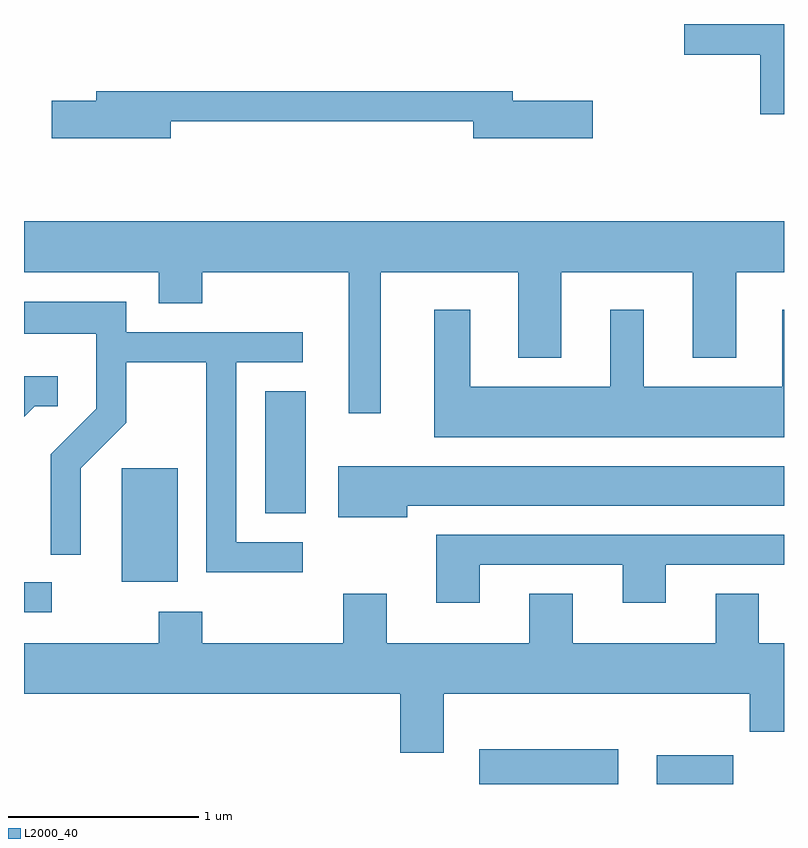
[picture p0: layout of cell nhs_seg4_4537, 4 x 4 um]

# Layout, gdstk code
import gdstk
lib = gdstk.Library(unit=1e-6, precision=1e-09)
def R(c, l, rs):  # rectangles x0, y0, x1, y1
    for r in rs: c.add(gdstk.rectangle(r[:2], r[2:], *l))
def P(c, l, *ps):  # polygons
    for p in ps: c.add(gdstk.Polygon(p, *l))
L2000_40 = (2000, 40)

nhs_seg4_4537 = lib.new_cell('nhs_seg4_4537')
R(nhs_seg4_4537, L2000_40, [(320.006,1351.982,320.739,1352.164), (320.941,1351.982,321.344,1352.134), (317.611,1352.886,317.758,1353.044), (318.126,1353.046,318.419,1353.644), (318.881,1353.406,319.094,1354.049)])
P(nhs_seg4_4537, L2000_40, [(321.611,1355.982),(321.086,1355.982),(321.086,1355.821),(321.486,1355.821),(321.486,1355.506),(321.611,1355.506)],
  [(318.384,1355.471),(319.976,1355.471),(319.976,1355.381),(320.604,1355.381),(320.604,1355.579),(320.184,1355.579),(320.184,1355.629),(317.991,1355.629),(317.991,1355.579),(317.756,1355.579),(317.756,1355.381),(318.384,1355.381)],
  [(319.489,1354.676),(320.211,1354.676),(320.211,1354.226),(320.439,1354.226),(320.439,1354.676),(321.131,1354.676),(321.131,1354.226),(321.359,1354.226),(321.359,1354.676),(321.611,1354.676),(321.611,1354.944),(317.611,1354.944),(317.611,1354.676),(318.321,1354.676),(318.321,1354.511),(318.549,1354.511),(318.549,1354.676),(319.321,1354.676),(319.321,1353.933),(319.489,1353.933)],
  [(319.078,1353.254),(318.729,1353.254),(318.729,1354.201),(319.078,1354.201),(319.078,1354.359),(318.149,1354.359),(318.149,1354.519),(317.611,1354.519),(317.611,1354.351),(317.991,1354.351),(317.991,1353.957),(317.751,1353.717),(317.751,1353.188),(317.909,1353.188),(317.909,1353.644),(318.149,1353.884),(318.149,1354.201),(318.571,1354.201),(318.571,1353.096),(319.078,1353.096)],
  [(321.611,1354.479),(321.601,1354.479),(321.601,1354.074),(320.874,1354.074),(320.874,1354.479),(320.696,1354.479),(320.696,1354.074),(319.959,1354.074),(319.959,1354.479),(319.771,1354.479),(319.771,1353.806),(321.611,1353.806)],
  [(317.667,1353.971),(317.788,1353.971),(317.788,1354.129),(317.611,1354.129),(317.611,1353.916)],
  [(319.629,1353.446),(321.611,1353.446),(321.611,1353.654),(319.266,1353.654),(319.266,1353.386),(319.629,1353.386)],
  [(320.009,1353.136),(320.761,1353.136),(320.761,1352.936),(320.989,1352.936),(320.989,1353.136),(321.611,1353.136),(321.611,1353.294),(319.781,1353.294),(319.781,1352.936),(320.009,1352.936)],
  [(319.819,1352.456),(321.431,1352.456),(321.431,1352.256),(321.611,1352.256),(321.611,1352.724),(321.479,1352.724),(321.479,1352.984),(321.251,1352.984),(321.251,1352.724),(320.499,1352.724),(320.499,1352.984),(320.271,1352.984),(320.271,1352.724),(319.519,1352.724),(319.519,1352.984),(319.291,1352.984),(319.291,1352.724),(318.549,1352.724),(318.549,1352.889),(318.321,1352.889),(318.321,1352.724),(317.611,1352.724),(317.611,1352.456),(319.591,1352.456),(319.591,1352.146),(319.819,1352.146)])

lib.write_gds('nhs_seg4_4537.gds')
